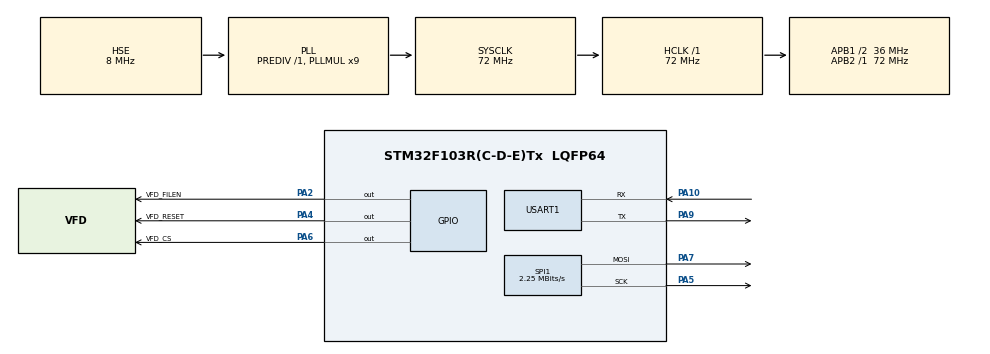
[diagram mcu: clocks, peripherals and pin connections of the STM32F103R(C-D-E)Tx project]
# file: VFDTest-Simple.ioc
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Mcu.Family=STM32F1
Mcu.Name=STM32F103R(C-D-E)Tx
Mcu.Package=LQFP64
NVIC.PriorityGroup=NVIC_PRIORITYGROUP_4
PA10.Mode=Asynchronous
PA10.Signal=USART1_RX
PA2.GPIO_Label=VFD_FILEN
PA2.GPIO_Speed=GPIO_SPEED_FREQ_LOW
PA2.Signal=GPIO_Output
PA4.GPIO_Label=VFD_RESET
PA4.GPIO_Speed=GPIO_SPEED_FREQ_HIGH
PA4.Signal=GPIO_Output
PA5.Mode=TX_Only_Simplex_Unidirect_Master
PA5.Signal=SPI1_SCK
PA6.GPIO_Label=VFD_CS
PA6.GPIO_Speed=GPIO_SPEED_FREQ_HIGH
PA6.PinState=GPIO_PIN_SET
PA6.Signal=GPIO_Output
PA7.Mode=TX_Only_Simplex_Unidirect_Master
PA7.Signal=SPI1_MOSI
PA9.Mode=Asynchronous
PA9.Signal=USART1_TX
PC14-OSC32_IN.Mode=LSE-External-Oscillator
PC14-OSC32_IN.Signal=RCC_OSC32_IN
PC15-OSC32_OUT.Mode=LSE-External-Oscillator
PC15-OSC32_OUT.Signal=RCC_OSC32_OUT
PD0-OSC_IN.Mode=HSE-External-Oscillator
PD0-OSC_IN.Signal=RCC_OSC_IN
PD1-OSC_OUT.Mode=HSE-External-Oscillator
PD1-OSC_OUT.Signal=RCC_OSC_OUT
ProjectManager.HeapSize=0x200
ProjectManager.StackSize=0x400
ProjectManager.TargetToolchain=STM32CubeIDE
RCC.AHBFreq_Value=72000000
RCC.APB1CLKDivider=RCC_HCLK_DIV2
RCC.APB1Freq_Value=36000000
RCC.APB1TimFreq_Value=72000000
RCC.APB2Freq_Value=72000000
RCC.APB2TimFreq_Value=72000000
RCC.HCLKFreq_Value=72000000
RCC.PLLMUL=RCC_PLL_MUL9
RCC.PLLSourceVirtual=RCC_PLLSOURCE_HSE
RCC.RTCClockSelection=RCC_RTCCLKSOURCE_LSE
RCC.SYSCLKFreq_VALUE=72000000
RCC.SYSCLKSource=RCC_SYSCLKSOURCE_PLLCLK
RCC.USBFreq_Value=72000000
RTC.Format=RTC_FORMAT_BCD
SPI1.BaudRatePrescaler=SPI_BAUDRATEPRESCALER_32
SPI1.CLKPhase=SPI_PHASE_2EDGE
SPI1.CLKPolarity=SPI_POLARITY_HIGH
SPI1.CalculateBaudRate=2.25 MBits/s
SPI1.Direction=SPI_DIRECTION_2LINES
SPI1.FirstBit=SPI_FIRSTBIT_LSB
SPI1.Mode=SPI_MODE_MASTER
SPI1.VirtualType=VM_MASTER
USART1.VirtualMode=VM_ASYNC
USART1.WordLength=WORDLENGTH_8B
VP_RTC_VS_RTC_Activate.Mode=RTC_Enabled
VP_SYS_VS_ND.Mode=No_Debug
board=custom

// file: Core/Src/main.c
/* USER CODE BEGIN Header */
/**
  ******************************************************************************
  * @file           : main.c
  * @brief          : Main program body
  ******************************************************************************
  * @attention
  *
  * Copyright (c) 2022 STMicroelectronics.
  * All rights reserved.
  *
  * This software is licensed under terms that can be found in the LICENSE file
  * in the root directory of this software component.
  * If no LICENSE file comes with this software, it is provided AS-IS.
  *
  ******************************************************************************
  */
/* USER CODE END Header */
#include "main.h"

/* USER CODE BEGIN Includes */
#include "stdarg.h"
#include "images.h"
/* USER CODE END Includes */

 RTC_HandleTypeDef hrtc;

SPI_HandleTypeDef hspi1;

UART_HandleTypeDef huart1;

void SystemClock_Config(void);
static void MX_GPIO_Init(void);
static void MX_RTC_Init(void);
static void MX_SPI1_Init(void);
static void MX_USART1_UART_Init(void);
/* USER CODE BEGIN PFP */

void VFD_Init(void);
void SPI_WrtieByte(const uint8_t data);
void WriteCMD(const uint8_t total, ...);
void WriteDisplayDATA(const uint8_t x, const uint8_t y, const uint8_t y_length, const uint8_t *data, const uint16_t data_size);
void VFD_CLS(const uint8_t color);
/* USER CODE END PFP */

int main(void)
{

  /* MCU Configuration--------------------------------------------------------*/

  /* Reset of all peripherals, Initializes the Flash interface and the Systick. */
  HAL_Init();

  /* Configure the system clock */
  SystemClock_Config();

  /* Initialize all configured peripherals */
  MX_GPIO_Init();
  MX_RTC_Init();
  MX_SPI1_Init();
  MX_USART1_UART_Init();
  /* USER CODE BEGIN 2 */

  HAL_GPIO_WritePin(VFD_FILEN_GPIO_Port, VFD_FILEN_Pin, GPIO_PIN_SET); // Turn the filament on

  HAL_Delay(2000);

  VFD_Init();

  HAL_UART_Transmit(&huart1, (uint8_t*)"Begin\n", 6, 100);
  /* USER CODE END 2 */

  /* Infinite loop */
  while (1)
  {

    /* USER CODE BEGIN 3 */
	HAL_UART_Transmit(&huart1, (uint8_t*)"Hello\n", 6, 100);

	WriteDisplayDATA(0, 0, 0x37, gImage_IMG2, sizeof(gImage_IMG2) / sizeof(uint8_t)); // ·¢ËÍÍ¼Æ¬2
	HAL_Delay(10000);

	WriteDisplayDATA(0, 0, 0x37, gImage_IMG1, sizeof(gImage_IMG1) / sizeof(uint8_t)); // ·¢ËÍÍ¼Æ¬1
	HAL_Delay(3000);

	VFD_CLS(0xFF);
	HAL_Delay(3000);

	VFD_CLS(0x55);
	HAL_Delay(3000);

	VFD_CLS(0xAA);
	HAL_Delay(3000);
  }
  /* USER CODE END 3 */
}

void SystemClock_Config(void)
{
  RCC_OscInitTypeDef RCC_OscInitStruct = {0};
  RCC_ClkInitTypeDef RCC_ClkInitStruct = {0};
  RCC_PeriphCLKInitTypeDef PeriphClkInit = {0};

  /** Initializes the RCC Oscillators according to the specified parameters
  * in the RCC_OscInitTypeDef structure.
  */
  RCC_OscInitStruct.OscillatorType = RCC_OSCILLATORTYPE_HSE|RCC_OSCILLATORTYPE_LSE;
  RCC_OscInitStruct.HSEState = RCC_HSE_ON;
  RCC_OscInitStruct.HSEPredivValue = RCC_HSE_PREDIV_DIV1;
  RCC_OscInitStruct.LSEState = RCC_LSE_ON;
  RCC_OscInitStruct.HSIState = RCC_HSI_ON;
  RCC_OscInitStruct.PLL.PLLState = RCC_PLL_ON;
  RCC_OscInitStruct.PLL.PLLSource = RCC_PLLSOURCE_HSE;
  RCC_OscInitStruct.PLL.PLLMUL = RCC_PLL_MUL9;
  if (HAL_RCC_OscConfig(&RCC_OscInitStruct) != HAL_OK)
  {
    Error_Handler();
  }

  /** Initializes the CPU, AHB and APB buses clocks
  */
  RCC_ClkInitStruct.ClockType = RCC_CLOCKTYPE_HCLK|RCC_CLOCKTYPE_SYSCLK
                              |RCC_CLOCKTYPE_PCLK1|RCC_CLOCKTYPE_PCLK2;
  RCC_ClkInitStruct.SYSCLKSource = RCC_SYSCLKSOURCE_PLLCLK;
  RCC_ClkInitStruct.AHBCLKDivider = RCC_SYSCLK_DIV1;
  RCC_ClkInitStruct.APB1CLKDivider = RCC_HCLK_DIV2;
  RCC_ClkInitStruct.APB2CLKDivider = RCC_HCLK_DIV1;

  if (HAL_RCC_ClockConfig(&RCC_ClkInitStruct, FLASH_LATENCY_2) != HAL_OK)
  {
    Error_Handler();
  }
  PeriphClkInit.PeriphClockSelection = RCC_PERIPHCLK_RTC;
  PeriphClkInit.RTCClockSelection = RCC_RTCCLKSOURCE_LSE;
  if (HAL_RCCEx_PeriphCLKConfig(&PeriphClkInit) != HAL_OK)
  {
    Error_Handler();
  }
}

static void MX_RTC_Init(void)
{

  /** Initialize RTC Only
  */
  hrtc.Instance = RTC;
  hrtc.Init.AsynchPrediv = RTC_AUTO_1_SECOND;
  hrtc.Init.OutPut = RTC_OUTPUTSOURCE_ALARM;
  if (HAL_RTC_Init(&hrtc) != HAL_OK)
  {
    Error_Handler();
  }

}

static void MX_SPI1_Init(void)
{

  /* SPI1 parameter configuration*/
  hspi1.Instance = SPI1;
  hspi1.Init.Mode = SPI_MODE_MASTER;
  hspi1.Init.Direction = SPI_DIRECTION_2LINES;
  hspi1.Init.DataSize = SPI_DATASIZE_8BIT;
  hspi1.Init.CLKPolarity = SPI_POLARITY_HIGH;
  hspi1.Init.CLKPhase = SPI_PHASE_2EDGE;
  hspi1.Init.NSS = SPI_NSS_SOFT;
  hspi1.Init.BaudRatePrescaler = SPI_BAUDRATEPRESCALER_32;
  hspi1.Init.FirstBit = SPI_FIRSTBIT_LSB;
  hspi1.Init.TIMode = SPI_TIMODE_DISABLE;
  hspi1.Init.CRCCalculation = SPI_CRCCALCULATION_DISABLE;
  hspi1.Init.CRCPolynomial = 10;
  if (HAL_SPI_Init(&hspi1) != HAL_OK)
  {
    Error_Handler();
  }

}

static void MX_USART1_UART_Init(void)
{

  huart1.Instance = USART1;
  huart1.Init.BaudRate = 115200;
  huart1.Init.WordLength = UART_WORDLENGTH_8B;
  huart1.Init.StopBits = UART_STOPBITS_1;
  huart1.Init.Parity = UART_PARITY_NONE;
  huart1.Init.Mode = UART_MODE_TX_RX;
  huart1.Init.HwFlowCtl = UART_HWCONTROL_NONE;
  huart1.Init.OverSampling = UART_OVERSAMPLING_16;
  if (HAL_UART_Init(&huart1) != HAL_OK)
  {
    Error_Handler();
  }

}

static void MX_GPIO_Init(void)
{
  GPIO_InitTypeDef GPIO_InitStruct = {0};

  /* GPIO Ports Clock Enable */
  __HAL_RCC_GPIOC_CLK_ENABLE();
  __HAL_RCC_GPIOD_CLK_ENABLE();
  __HAL_RCC_GPIOA_CLK_ENABLE();

  /*Configure GPIO pin Output Level */
  HAL_GPIO_WritePin(GPIOA, VFD_FILEN_Pin|VFD_RESET_Pin, GPIO_PIN_RESET);

  /*Configure GPIO pin Output Level */
  HAL_GPIO_WritePin(VFD_CS_GPIO_Port, VFD_CS_Pin, GPIO_PIN_SET);

  /*Configure GPIO pin : VFD_FILEN_Pin */
  GPIO_InitStruct.Pin = VFD_FILEN_Pin;
  GPIO_InitStruct.Mode = GPIO_MODE_OUTPUT_PP;
  GPIO_InitStruct.Pull = GPIO_NOPULL;
  GPIO_InitStruct.Speed = GPIO_SPEED_FREQ_LOW;
  HAL_GPIO_Init(VFD_FILEN_GPIO_Port, &GPIO_InitStruct);

  /*Configure GPIO pins : VFD_RESET_Pin VFD_CS_Pin */
  GPIO_InitStruct.Pin = VFD_RESET_Pin|VFD_CS_Pin;
  GPIO_InitStruct.Mode = GPIO_MODE_OUTPUT_PP;
  GPIO_InitStruct.Pull = GPIO_NOPULL;
  GPIO_InitStruct.Speed = GPIO_SPEED_FREQ_HIGH;
  HAL_GPIO_Init(GPIOA, &GPIO_InitStruct);

}

/* USER CODE BEGIN 4 */
void VFD_Init(void)
{
  HAL_GPIO_WritePin(VFD_RESET_GPIO_Port, VFD_RESET_Pin, GPIO_PIN_RESET);
  HAL_Delay(1);
  SPI_WrtieByte(0x0F);
  HAL_Delay(1);
  HAL_GPIO_WritePin(VFD_RESET_GPIO_Port, VFD_RESET_Pin, GPIO_PIN_SET);
  HAL_Delay(1);
  WriteCMD(1, 0xAA);                                           // Software Reset
  WriteCMD(2, 0x78, 0x08);                               	   // Oscillation setting
  WriteCMD(3, 0xCC, 0x02, 0x00);                               // VFD Mode Setting
  WriteCMD(8, 0xE0, 0xFF, 0x31, 0x00, 0x20, 0x00, 0x00, 0x80); // Display Area Setting
  WriteCMD(5, 0xB1, 0x20, 0x3F, 0x00, 0x01);                   // Internal Speed Setting
  WriteCMD(3, 0xA0, 0x00, 0x28);                               // Dimming Level Setting £¨ÁÁ¶ÈÉèÖÃ£¬³µ»úÄ¬ÈÏ0x00£¬0x66£¬¿ÉÉèÖÃÖµÎª0-1023£©
  WriteCMD(1, 0x55);                                           // Memory Map Clear
  HAL_Delay(10);                                               // µÈ´ýÄÚ²¿RAMÇåÁã
  WriteCMD(3, 0xC0, 0x00, 0x04);                               // DW1 position setting
  WriteCMD(3, 0xD0, 0x00, 0x3C);                               // DW2 position setting
  WriteCMD(2, 0x90, 0x00);                                     // Î´ÖªÃüÁî
  WriteCMD(2, 0x80, 0x00);                                     // Display Mode Setting
  WriteCMD(2, 0x08, 0x00);                                     // T1 INT Setting
}

void SPI_WrtieByte(const uint8_t data)
{
  HAL_StatusTypeDef rVal = HAL_SPI_Transmit(&hspi1, (uint8_t*)&data, sizeof(data), 100);
  if(rVal != HAL_OK) {
	  HAL_UART_Transmit(&huart1, (uint8_t*)"Error\n", 6, 100);
  }
}

void WriteCMD(const uint8_t total, ...)
{
  va_list cmd;
  va_start(cmd, total);

  HAL_GPIO_WritePin(VFD_CS_GPIO_Port, VFD_CS_Pin, GPIO_PIN_RESET);

  for (uint8_t i = 0; i < total; i++) {
	SPI_WrtieByte(va_arg(cmd, int));
  }

  HAL_GPIO_WritePin(VFD_CS_GPIO_Port, VFD_CS_Pin, GPIO_PIN_SET);

  va_end(cmd);
}

void WriteDisplayDATA(const uint8_t x, const uint8_t y, const uint8_t y_length, const uint8_t *data, const uint16_t data_size)
{
  HAL_GPIO_WritePin(VFD_CS_GPIO_Port, VFD_CS_Pin, GPIO_PIN_RESET);

  SPI_WrtieByte(0xF0);
  SPI_WrtieByte(x);
  SPI_WrtieByte(y + 0x04);
  SPI_WrtieByte(y_length);
  for (uint16_t i = 0; i < data_size; i++) {
    SPI_WrtieByte(data[i]);
  }

  HAL_GPIO_WritePin(VFD_CS_GPIO_Port, VFD_CS_Pin, GPIO_PIN_SET);
}

void VFD_CLS(const uint8_t color)
{
  HAL_GPIO_WritePin(VFD_CS_GPIO_Port, VFD_CS_Pin, GPIO_PIN_RESET);

  SPI_WrtieByte(0xF0);
  SPI_WrtieByte(0);
  SPI_WrtieByte(0x04);
  SPI_WrtieByte(0x37);
  for (uint16_t i = 0; i < 1792; i++)
  {
    SPI_WrtieByte(color);
  }

  HAL_GPIO_WritePin(VFD_CS_GPIO_Port, VFD_CS_Pin, GPIO_PIN_SET);
}

/* USER CODE END 4 */

void Error_Handler(void)
{
  __disable_irq();
  while (1)
  {
  }
}
